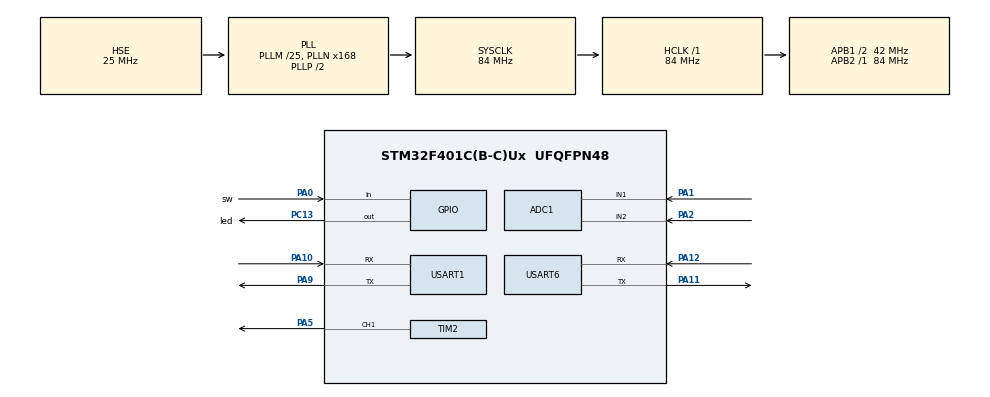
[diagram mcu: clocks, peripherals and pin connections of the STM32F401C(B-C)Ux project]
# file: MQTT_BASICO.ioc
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ADC1.Channel-0\#ChannelRegularConversion=ADC_CHANNEL_1
ADC1.Channel-1\#ChannelRegularConversion=ADC_CHANNEL_2
ADC1.NbrOfConversion=2
ADC1.NbrOfConversionFlag=1
ADC1.Rank-0\#ChannelRegularConversion=1
ADC1.Rank-1\#ChannelRegularConversion=2
ADC1.SamplingTime-0\#ChannelRegularConversion=ADC_SAMPLETIME_84CYCLES
ADC1.SamplingTime-1\#ChannelRegularConversion=ADC_SAMPLETIME_84CYCLES
ADC1.master=1
Dma.Request0=USART6_RX
Dma.Request1=USART1_RX
Dma.USART1_RX.1.Direction=DMA_PERIPH_TO_MEMORY
Dma.USART1_RX.1.FIFOMode=DMA_FIFOMODE_DISABLE
Dma.USART1_RX.1.Instance=DMA2_Stream2
Dma.USART1_RX.1.MemDataAlignment=DMA_MDATAALIGN_BYTE
Dma.USART1_RX.1.MemInc=DMA_MINC_ENABLE
Dma.USART1_RX.1.Mode=DMA_NORMAL
Dma.USART1_RX.1.PeriphDataAlignment=DMA_PDATAALIGN_BYTE
Dma.USART1_RX.1.PeriphInc=DMA_PINC_DISABLE
Dma.USART1_RX.1.Priority=DMA_PRIORITY_LOW
Dma.USART6_RX.0.Direction=DMA_PERIPH_TO_MEMORY
Dma.USART6_RX.0.FIFOMode=DMA_FIFOMODE_DISABLE
Dma.USART6_RX.0.Instance=DMA2_Stream1
Dma.USART6_RX.0.MemDataAlignment=DMA_MDATAALIGN_BYTE
Dma.USART6_RX.0.MemInc=DMA_MINC_ENABLE
Dma.USART6_RX.0.Mode=DMA_NORMAL
Dma.USART6_RX.0.PeriphDataAlignment=DMA_PDATAALIGN_BYTE
Dma.USART6_RX.0.PeriphInc=DMA_PINC_DISABLE
Dma.USART6_RX.0.Priority=DMA_PRIORITY_LOW
Mcu.Family=STM32F4
Mcu.Name=STM32F401C(B-C)Ux
Mcu.Package=UFQFPN48
NVIC.DMA2_Stream1_IRQn=true\:0\:0\:false\:false\:true\:false\:true\:true
NVIC.DMA2_Stream2_IRQn=true\:0\:0\:false\:false\:true\:false\:true\:true
NVIC.PriorityGroup=NVIC_PRIORITYGROUP_4
NVIC.USART1_IRQn=true\:0\:0\:false\:false\:true\:true\:true\:true
PA0-WKUP.GPIO_Label=sw
PA0-WKUP.GPIO_PuPd=GPIO_PULLUP
PA0-WKUP.Signal=GPIO_Input
PA1.Signal=ADCx_IN1
PA10.Mode=Asynchronous
PA10.Signal=USART1_RX
PA11.Mode=Asynchronous
PA11.Signal=USART6_TX
PA12.Mode=Asynchronous
PA12.Signal=USART6_RX
PA2.Signal=ADCx_IN2
PA5.Signal=S_TIM2_CH1_ETR
PA9.Mode=Asynchronous
PA9.Signal=USART1_TX
PC13-ANTI_TAMP.GPIO_Label=led
PC13-ANTI_TAMP.Signal=GPIO_Output
PH0\ -\ OSC_IN.Mode=HSE-External-Oscillator
PH0\ -\ OSC_IN.Signal=RCC_OSC_IN
PH1\ -\ OSC_OUT.Mode=HSE-External-Oscillator
PH1\ -\ OSC_OUT.Signal=RCC_OSC_OUT
ProjectManager.HeapSize=0x200
ProjectManager.StackSize=0x400
ProjectManager.TargetToolchain=CMake
RCC.48MHZClocksFreq_Value=42000000
RCC.AHBFreq_Value=84000000
RCC.APB1CLKDivider=RCC_HCLK_DIV2
RCC.APB1Freq_Value=42000000
RCC.APB1TimFreq_Value=84000000
RCC.APB2Freq_Value=84000000
RCC.APB2TimFreq_Value=84000000
RCC.CortexFreq_Value=84000000
RCC.HCLKFreq_Value=84000000
RCC.HSE_VALUE=25000000
RCC.HSI_VALUE=16000000
RCC.LSE_VALUE=32768
RCC.PLLM=25
RCC.PLLN=168
RCC.PLLSourceVirtual=RCC_PLLSOURCE_HSE
RCC.SYSCLKFreq_VALUE=84000000
RCC.SYSCLKSource=RCC_SYSCLKSOURCE_PLLCLK
RCC.VCOOutputFreq_Value=168000000
SH.ADCx_IN1.0=ADC1_IN1,IN1
SH.ADCx_IN2.0=ADC1_IN2,IN2
SH.S_TIM2_CH1_ETR.0=TIM2_CH1,PWM Generation1 CH1
TIM2.AutoReloadPreload=TIM_AUTORELOAD_PRELOAD_ENABLE
TIM2.Channel-PWM\ Generation1\ CH1=TIM_CHANNEL_1
TIM2.Period=20000-1
TIM2.Prescaler=84-1
USART1.VirtualMode=VM_ASYNC
USART6.VirtualMode=VM_ASYNC
board=custom

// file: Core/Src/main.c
/* USER CODE BEGIN Header */
/**
  ******************************************************************************
  * @file           : main.c
  * @brief          : Main program body
  ******************************************************************************
  * @attention
  *
  * Copyright (c) 2026 STMicroelectronics.
  * All rights reserved.
  *
  * This software is licensed under terms that can be found in the LICENSE file
  * in the root directory of this software component.
  * If no LICENSE file comes with this software, it is provided AS-IS.
  *
  ******************************************************************************
  */
/* USER CODE END Header */
#include "main.h"

/* USER CODE BEGIN Includes */
#include "stdio.h"
#include "string.h"
#include "stdlib.h"
#include "math.h"
#include "uart.h"
#include "adc_x.h"
#include "UARTRX.h"
#include "MQTT.h"
#include "pinout.h"
#include "servos.h"
/* USER CODE END Includes */

ADC_HandleTypeDef hadc1;

TIM_HandleTypeDef htim2;

UART_HandleTypeDef huart1;
UART_HandleTypeDef huart6;
DMA_HandleTypeDef hdma_usart1_rx;
DMA_HandleTypeDef hdma_usart6_rx;

/* USER CODE BEGIN PV */
float voltaje;
float temperatura;
uint8_t led_estado = 0;  //estado del LED controlado desde thingsboard
float servo_angulo = 0.0;  //angulo del servo controlado desde thingsboard
uint8_t suiche = 0;        //estado del sw (PA0), con pull-up: 1 = suelto, 0 = presionado
char texto_uart6[700];
/* USER CODE END PV */

void SystemClock_Config(void);
static void MX_GPIO_Init(void);
static void MX_DMA_Init(void);
static void MX_USART1_UART_Init(void);
static void MX_ADC1_Init(void);
static void MX_TIM2_Init(void);
static void MX_USART6_UART_Init(void);

int main(void)
{

  /* MCU Configuration--------------------------------------------------------*/

  /* Reset of all peripherals, Initializes the Flash interface and the Systick. */
  HAL_Init();

  /* Configure the system clock */
  SystemClock_Config();

  /* Initialize all configured peripherals */
  MX_GPIO_Init();
  MX_DMA_Init();
  MX_USART1_UART_Init();
  MX_ADC1_Init();
  MX_TIM2_Init();
  MX_USART6_UART_Init();
  /* USER CODE BEGIN 2 */

  SERVO_init(&SERVO1);

  SERVO_ANG(&SERVO1, 90);
  HAL_Delay(1000);
  SERVO_ANG(&SERVO1, -90);
  HAL_Delay(1000);
  PIN_ON(led);  //apaga el led

  //CONFI MQTT
  MQTT_Init();                     //inicia recepcion DMA del MQTT_UARTRX
  HAL_Delay(3000);                 //tiempo para que el DT-06 se conecte a thingsboard
  MQTT_Connect();                  //si falla, MQTT_Loop reintenta cada 5 s
  MQTT_Subscribe(TB_RPC_REQUEST);  //recibir comandos RPC desde thingsboard
  uint32_t t_envio = 0;

  /* USER CODE END 2 */

  /* Infinite loop */
  /* USER CODE BEGIN WHILE */
  while (1)
  {
  //LEEO ADC
    ADC_Read_All(&hadc1, adc1_canales, adc1_codigo);
    voltaje = (float)adc1_codigo[0] * 3.3 / 4095.0;
    temperatura = (float)adc1_codigo[1] * 100.0 / 4095.0;
   suiche = PIN_READ(sw);  //lee PA0 con la libreria pinout

    MQTT_Loop();  // proceso lo recibido

    //todo lo que llega por mqtt lo mando por el uart6
    if (MQTT_flag_msg == 1)
    {
      sprintf(texto_uart6, "MQTT RX -> %s : %s\r\n", MQTT_topic_rx, MQTT_payload_rx);
      uartx_write_text(&huart6, texto_uart6);
    }

 //cada 2s mando voltaje como temperatura y bateria como humedad
    if ((HAL_GetTick() - t_envio) >= 2000)
    {
      t_envio = HAL_GetTick();
      sprintf( MQTT_TX_BUFF, "{\"temperatura\":%.2f,\"voltaje\":%.2f,\"led\":%s}", temperatura, voltaje, suiche ? "false" : "true");
      MQTT_Telemetria( MQTT_TX_BUFF);
    }

    //LECTURA DE THINGSBOARD
     led_estado   = MQTT_RPC_Bool("LedStatus", led_estado);   //leo el suiche de  thinsgboard
    servo_angulo = MQTT_RPC_Float("ServoAngle", servo_angulo);  //leo el vlaor del servo

    SERVO_ANG(&SERVO1, servo_angulo);//muevo el servo al angulo indicado desde thingsboard
    HAL_GPIO_WritePin(led_GPIO_Port, led_Pin, led_estado ? 0 :1 );

    //mensajes que ninguna funcion RPC atendio (otros metodos o atributos)
    if (MQTT_flag_msg == 1)
    {
      MQTT_flag_msg = 0;
    }

    /* USER CODE END WHILE */

  }
}

void SystemClock_Config(void)
{
  RCC_OscInitTypeDef RCC_OscInitStruct = {0};
  RCC_ClkInitTypeDef RCC_ClkInitStruct = {0};

  /** Configure the main internal regulator output voltage
  */
  __HAL_RCC_PWR_CLK_ENABLE();
  __HAL_PWR_VOLTAGESCALING_CONFIG(PWR_REGULATOR_VOLTAGE_SCALE2);

  /** Initializes the RCC Oscillators according to the specified parameters
  * in the RCC_OscInitTypeDef structure.
  */
  RCC_OscInitStruct.OscillatorType = RCC_OSCILLATORTYPE_HSE;
  RCC_OscInitStruct.HSEState = RCC_HSE_ON;
  RCC_OscInitStruct.PLL.PLLState = RCC_PLL_ON;
  RCC_OscInitStruct.PLL.PLLSource = RCC_PLLSOURCE_HSE;
  RCC_OscInitStruct.PLL.PLLM = 25;
  RCC_OscInitStruct.PLL.PLLN = 168;
  RCC_OscInitStruct.PLL.PLLP = RCC_PLLP_DIV2;
  RCC_OscInitStruct.PLL.PLLQ = 4;
  if (HAL_RCC_OscConfig(&RCC_OscInitStruct) != HAL_OK)
  {
    Error_Handler();
  }

  /** Initializes the CPU, AHB and APB buses clocks
  */
  RCC_ClkInitStruct.ClockType = RCC_CLOCKTYPE_HCLK|RCC_CLOCKTYPE_SYSCLK
                              |RCC_CLOCKTYPE_PCLK1|RCC_CLOCKTYPE_PCLK2;
  RCC_ClkInitStruct.SYSCLKSource = RCC_SYSCLKSOURCE_PLLCLK;
  RCC_ClkInitStruct.AHBCLKDivider = RCC_SYSCLK_DIV1;
  RCC_ClkInitStruct.APB1CLKDivider = RCC_HCLK_DIV2;
  RCC_ClkInitStruct.APB2CLKDivider = RCC_HCLK_DIV1;

  if (HAL_RCC_ClockConfig(&RCC_ClkInitStruct, FLASH_LATENCY_2) != HAL_OK)
  {
    Error_Handler();
  }
}

static void MX_ADC1_Init(void)
{

  ADC_ChannelConfTypeDef sConfig = {0};

  /** Configure the global features of the ADC (Clock, Resolution, Data Alignment and number of conversion)
  */
  hadc1.Instance = ADC1;
  hadc1.Init.ClockPrescaler = ADC_CLOCK_SYNC_PCLK_DIV4;
  hadc1.Init.Resolution = ADC_RESOLUTION_12B;
  hadc1.Init.ScanConvMode = ENABLE;
  hadc1.Init.ContinuousConvMode = DISABLE;
  hadc1.Init.DiscontinuousConvMode = DISABLE;
  hadc1.Init.ExternalTrigConvEdge = ADC_EXTERNALTRIGCONVEDGE_NONE;
  hadc1.Init.ExternalTrigConv = ADC_SOFTWARE_START;
  hadc1.Init.DataAlign = ADC_DATAALIGN_RIGHT;
  hadc1.Init.NbrOfConversion = 2;
  hadc1.Init.DMAContinuousRequests = DISABLE;
  hadc1.Init.EOCSelection = ADC_EOC_SINGLE_CONV;
  if (HAL_ADC_Init(&hadc1) != HAL_OK)
  {
    Error_Handler();
  }

  /** Configure for the selected ADC regular channel its corresponding rank in the sequencer and its sample time.
  */
  sConfig.Channel = ADC_CHANNEL_1;
  sConfig.Rank = 1;
  sConfig.SamplingTime = ADC_SAMPLETIME_84CYCLES;
  if (HAL_ADC_ConfigChannel(&hadc1, &sConfig) != HAL_OK)
  {
    Error_Handler();
  }

  /** Configure for the selected ADC regular channel its corresponding rank in the sequencer and its sample time.
  */
  sConfig.Channel = ADC_CHANNEL_2;
  sConfig.Rank = 2;
  if (HAL_ADC_ConfigChannel(&hadc1, &sConfig) != HAL_OK)
  {
    Error_Handler();
  }

}

static void MX_TIM2_Init(void)
{

  TIM_MasterConfigTypeDef sMasterConfig = {0};
  TIM_OC_InitTypeDef sConfigOC = {0};

  htim2.Instance = TIM2;
  htim2.Init.Prescaler = 84-1;
  htim2.Init.CounterMode = TIM_COUNTERMODE_UP;
  htim2.Init.Period = 20000-1;
  htim2.Init.ClockDivision = TIM_CLOCKDIVISION_DIV1;
  htim2.Init.AutoReloadPreload = TIM_AUTORELOAD_PRELOAD_ENABLE;
  if (HAL_TIM_PWM_Init(&htim2) != HAL_OK)
  {
    Error_Handler();
  }
  sMasterConfig.MasterOutputTrigger = TIM_TRGO_RESET;
  sMasterConfig.MasterSlaveMode = TIM_MASTERSLAVEMODE_DISABLE;
  if (HAL_TIMEx_MasterConfigSynchronization(&htim2, &sMasterConfig) != HAL_OK)
  {
    Error_Handler();
  }
  sConfigOC.OCMode = TIM_OCMODE_PWM1;
  sConfigOC.Pulse = 0;
  sConfigOC.OCPolarity = TIM_OCPOLARITY_HIGH;
  sConfigOC.OCFastMode = TIM_OCFAST_DISABLE;
  if (HAL_TIM_PWM_ConfigChannel(&htim2, &sConfigOC, TIM_CHANNEL_1) != HAL_OK)
  {
    Error_Handler();
  }
  HAL_TIM_MspPostInit(&htim2);

}

static void MX_USART1_UART_Init(void)
{

  huart1.Instance = USART1;
  huart1.Init.BaudRate = 115200;
  huart1.Init.WordLength = UART_WORDLENGTH_8B;
  huart1.Init.StopBits = UART_STOPBITS_1;
  huart1.Init.Parity = UART_PARITY_NONE;
  huart1.Init.Mode = UART_MODE_TX_RX;
  huart1.Init.HwFlowCtl = UART_HWCONTROL_NONE;
  huart1.Init.OverSampling = UART_OVERSAMPLING_16;
  if (HAL_UART_Init(&huart1) != HAL_OK)
  {
    Error_Handler();
  }

}

static void MX_USART6_UART_Init(void)
{

  huart6.Instance = USART6;
  huart6.Init.BaudRate = 115200;
  huart6.Init.WordLength = UART_WORDLENGTH_8B;
  huart6.Init.StopBits = UART_STOPBITS_1;
  huart6.Init.Parity = UART_PARITY_NONE;
  huart6.Init.Mode = UART_MODE_TX_RX;
  huart6.Init.HwFlowCtl = UART_HWCONTROL_NONE;
  huart6.Init.OverSampling = UART_OVERSAMPLING_16;
  if (HAL_UART_Init(&huart6) != HAL_OK)
  {
    Error_Handler();
  }

}

static void MX_DMA_Init(void)
{

  /* DMA controller clock enable */
  __HAL_RCC_DMA2_CLK_ENABLE();

  /* DMA interrupt init */
  /* DMA2_Stream1_IRQn interrupt configuration */
  HAL_NVIC_SetPriority(DMA2_Stream1_IRQn, 0, 0);
  HAL_NVIC_EnableIRQ(DMA2_Stream1_IRQn);
  /* DMA2_Stream2_IRQn interrupt configuration */
  HAL_NVIC_SetPriority(DMA2_Stream2_IRQn, 0, 0);
  HAL_NVIC_EnableIRQ(DMA2_Stream2_IRQn);

}

static void MX_GPIO_Init(void)
{
  GPIO_InitTypeDef GPIO_InitStruct = {0};

  /* GPIO Ports Clock Enable */
  __HAL_RCC_GPIOC_CLK_ENABLE();
  __HAL_RCC_GPIOH_CLK_ENABLE();
  __HAL_RCC_GPIOA_CLK_ENABLE();

  /*Configure GPIO pin Output Level */
  HAL_GPIO_WritePin(led_GPIO_Port, led_Pin, GPIO_PIN_RESET);

  /*Configure GPIO pin : led_Pin */
  GPIO_InitStruct.Pin = led_Pin;
  GPIO_InitStruct.Mode = GPIO_MODE_OUTPUT_PP;
  GPIO_InitStruct.Pull = GPIO_NOPULL;
  GPIO_InitStruct.Speed = GPIO_SPEED_FREQ_LOW;
  HAL_GPIO_Init(led_GPIO_Port, &GPIO_InitStruct);

  /*Configure GPIO pin : sw_Pin */
  GPIO_InitStruct.Pin = sw_Pin;
  GPIO_InitStruct.Mode = GPIO_MODE_INPUT;
  GPIO_InitStruct.Pull = GPIO_PULLUP;
  HAL_GPIO_Init(sw_GPIO_Port, &GPIO_InitStruct);

}

void Error_Handler(void)
{
  __disable_irq();
  while (1)
  {
  }
}
